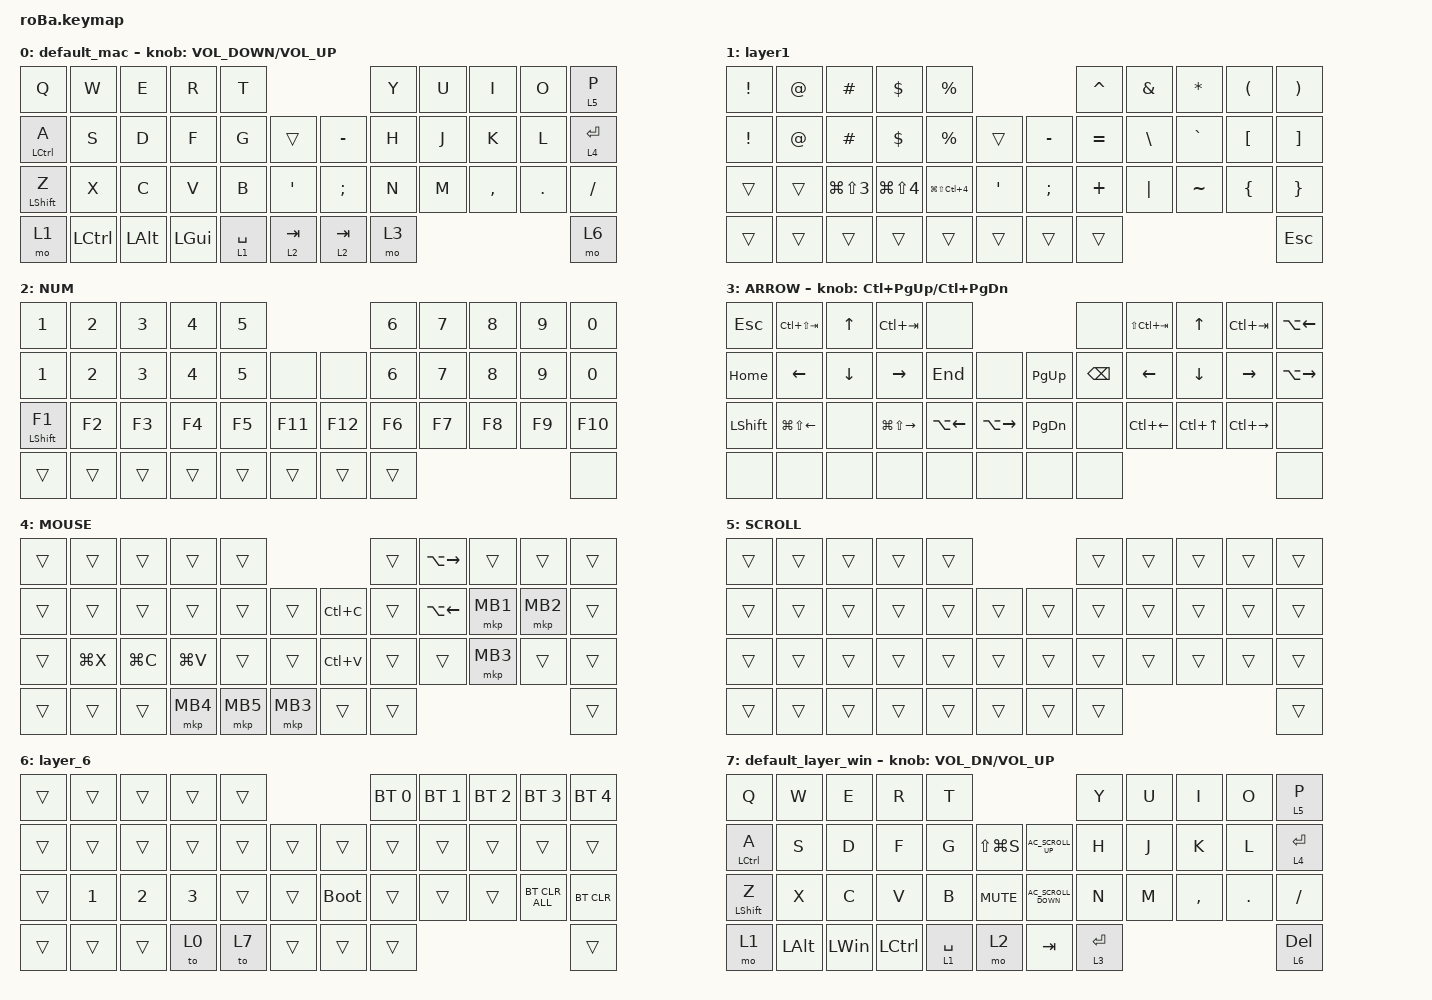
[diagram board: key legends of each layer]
#include <behaviors.dtsi>
#include <dt-bindings/zmk/bt.h>
#include <dt-bindings/zmk/keys.h>
#include <dt-bindings/zmk/pointing.h>

&mt {
    flavor = "balanced";
    quick-tap-ms = <0>;
};

&trackball {
    // automouse-layer = <4>;
    // レイヤー4がアクティブな時のみカーソル操作を通す設定

    scroll-layers = <5>;   /* レイヤー5 (SCROLL) にいる時だけスクロールを許可 */
    // arrows {
    //     layers = <3>;
    //     bindings =
    //         <&kp RIGHT_ARROW>,
    //         <&kp LEFT_ARROW>,
    //         <&kp UP_ARROW>,
    //         <&kp DOWN_ARROW>;
    //     tick = <10>;
    //     wait-ms = <5>;
    //     tap-ms = <5>;
    // };
};

/ {
    combos {
        compatible = "zmk,combos";

        tab {
            bindings = <&kp TAB>;
            key-positions = <11 10>;
        };

        shift_tab {
            bindings = <&kp LS(TAB)>;
            key-positions = <12 11>;
        };
    };

    macros {
        to_layer_0: to_layer_0 {
            compatible = "zmk,behavior-macro-one-param";
            #binding-cells = <1>;
            bindings = <&to 7 &macro_param_1to1 &kp MACRO_PLACEHOLDER>;
            label = "TO_LAYER_0";
        };
    };

    behaviors {
        lt_to_layer_0: lt_to_layer_0 {
            compatible = "zmk,behavior-hold-tap";
            label = "LAYER_TAP_TO_0";
            bindings = <&mo>, <&to_layer_0>;

            #binding-cells = <2>;
            tapping-term-ms = <200>;
        };
    };

    keymap {
        compatible = "zmk,keymap";

        default_mac {
            bindings = <
&kp Q               &kp W             &kp E         &kp R         &kp T                                      &kp Y  &kp U  &kp I      &kp O    &lt 5 P
&mt LEFT_CONTROL A  &kp S             &kp D         &kp F         &kp G        &trans         &kp MINUS      &kp H  &kp J  &kp K      &kp L    &lt 4 ENTER
&mt LEFT_SHIFT Z    &kp X             &kp C         &kp V         &kp B        &kp SQT        &kp SEMICOLON  &kp N  &kp M  &kp COMMA  &kp DOT  &kp SLASH
&mo 1               &kp LEFT_CONTROL  &kp LEFT_ALT  &kp LEFT_GUI  &lt 1 SPACE  &lt 2 TAB      &lt 2 TAB      &mo 3                             &mo 6
            >;

            sensor-bindings = <&inc_dec_kp C_VOLUME_DOWN C_VOLUME_UP>;
        };

        layer1 {
            bindings = <
&kp EXCLAMATION  &kp AT_SIGN  &kp HASH              &kp DOLLAR            &kp PERCENT                                           &kp CARET  &kp AMPERSAND  &kp ASTRK  &kp LEFT_PARENTHESIS  &kp RIGHT_PARENTHESIS
&kp EXCLAMATION  &kp AT_SIGN  &kp HASH              &kp DOLLAR            &kp PERCENT               &trans       &kp MINUS      &kp EQUAL  &kp BACKSLASH  &kp GRAVE  &kp LEFT_BRACKET      &kp RIGHT_BRACKET
&trans           &trans       &kp LG(LS(NUMBER_3))  &kp LG(LS(NUMBER_4))  &kp LG(LS(LC(NUMBER_4)))  &kp SQT      &kp SEMICOLON  &kp PLUS   &kp PIPE       &kp TILDE  &kp LEFT_BRACE        &kp RIGHT_BRACE
&trans           &trans       &trans                &trans                &trans                    &trans       &trans         &trans                                                     &kp ESC
            >;
        };

        NUM {
            bindings = <
&kp NUMBER_1       &kp NUMBER_2  &kp NUMBER_3  &kp NUMBER_4  &kp N5                              &kp NUMBER_6  &kp N7  &kp N8        &kp N9        &kp N0
&kp NUMBER_1       &kp NUMBER_2  &kp NUMBER_3  &kp NUMBER_4  &kp NUMBER_5  &none        &none    &kp NUMBER_6  &kp N7  &kp NUMBER_8  &kp NUMBER_9  &kp NUMBER_0
&mt LEFT_SHIFT F1  &kp F2        &kp F3        &kp F4        &kp F5        &kp F11      &kp F12  &kp F6        &kp F7  &kp F8        &kp F9        &kp F10
&trans             &trans        &trans        &trans        &trans        &trans       &trans   &trans                                            &none
            >;
        };

        ARROW {
            bindings = <
&kp ESCAPE      &kp LC(LS(TAB))         &kp UP_ARROW    &kp LC(TAB)              &none                                           &none          &kp LS(LC(TAB))     &kp UP_ARROW      &kp LC(TAB)      &kp LA(LEFT)
&kp HOME        &kp LEFT_ARROW          &kp DOWN_ARROW  &kp RIGHT_ARROW          &kp END       &none              &kp PAGE_UP    &kp BACKSPACE  &kp LEFT_ARROW      &kp DOWN_ARROW    &kp RIGHT_ARROW  &kp LA(RIGHT)
&kp LEFT_SHIFT  &kp LG(LS(LEFT_ARROW))  &none           &kp LG(LS(RIGHT_ARROW))  &kp LA(LEFT)  &kp LA(RIGHT)      &kp PAGE_DOWN  &none          &kp LC(LEFT_ARROW)  &kp LC(UP_ARROW)  &kp LC(RIGHT)    &none
&none           &none                   &none           &none                    &none         &none              &none          &none                                                                 &none
            >;

            sensor-bindings = <&inc_dec_kp LC(PAGE_UP) LC(PAGE_DOWN)>;
        };

        MOUSE {
            bindings = <
&trans  &trans     &trans     &trans     &trans                             &trans  &kp LA(RIGHT)       &trans    &trans    &trans
&trans  &trans     &trans     &trans     &trans    &trans        &kp LC(C)  &trans  &kp LA(LEFT_ARROW)  &mkp MB1  &mkp MB2  &trans
&trans  &kp LG(X)  &kp LG(C)  &kp LG(V)  &trans    &trans        &kp LC(V)  &trans  &trans              &mkp MB3  &trans    &trans
&trans  &trans     &trans     &mkp MB4   &mkp MB5  &mkp MB3      &trans     &trans                                          &trans
            >;
        };

        SCROLL {
            bindings = <
&trans  &trans  &trans  &trans  &trans                      &trans  &trans  &trans  &trans  &trans
&trans  &trans  &trans  &trans  &trans  &trans      &trans  &trans  &trans  &trans  &trans  &trans
&trans  &trans  &trans  &trans  &trans  &trans      &trans  &trans  &trans  &trans  &trans  &trans
&trans  &trans  &trans  &trans  &trans  &trans      &trans  &trans                          &trans
            >;
        };

        layer_6 {
            bindings = <
&trans  &trans        &trans        &trans        &trans                           &bt BT_SEL 0  &bt BT_SEL 1  &bt BT_SEL 2  &bt BT_SEL 3    &bt BT_SEL 4
&trans  &trans        &trans        &trans        &trans  &trans      &trans       &trans        &trans        &trans        &trans          &trans
&trans  &kp NUMBER_1  &kp NUMBER_2  &kp NUMBER_3  &trans  &trans      &bootloader  &trans        &trans        &trans        &bt BT_CLR_ALL  &bt BT_CLR
&trans  &trans        &trans        &to 0         &to 7   &trans      &trans       &trans                                                    &trans
            >;
        };

        default_layer_win {
            bindings = <
&kp Q             &kp W         &kp E         &kp R      &kp T                                                 &kp Y      &kp U  &kp I      &kp O    &lt_to_layer_0 5 P
&mt LCTRL A       &kp S         &kp D         &kp F      &kp G        &kp LS(LG(S))      &kp C_AC_SCROLL_UP    &kp H      &kp J  &kp K      &kp L    &lt 4 ENTER
&mt LEFT_SHIFT Z  &kp X         &kp C         &kp V      &kp B        &kp C_MUTE         &kp C_AC_SCROLL_DOWN  &kp N      &kp M  &kp COMMA  &kp DOT  &kp SLASH
&mo 1             &kp LEFT_ALT  &kp LEFT_WIN  &kp LCTRL  &lt 1 SPACE  &mo 2              &kp TAB               &lt 3 RET                             &lt 6 DEL
            >;

            sensor-bindings = <&inc_dec_kp C_VOL_DN C_VOLUME_UP>;
        };
    };
};
